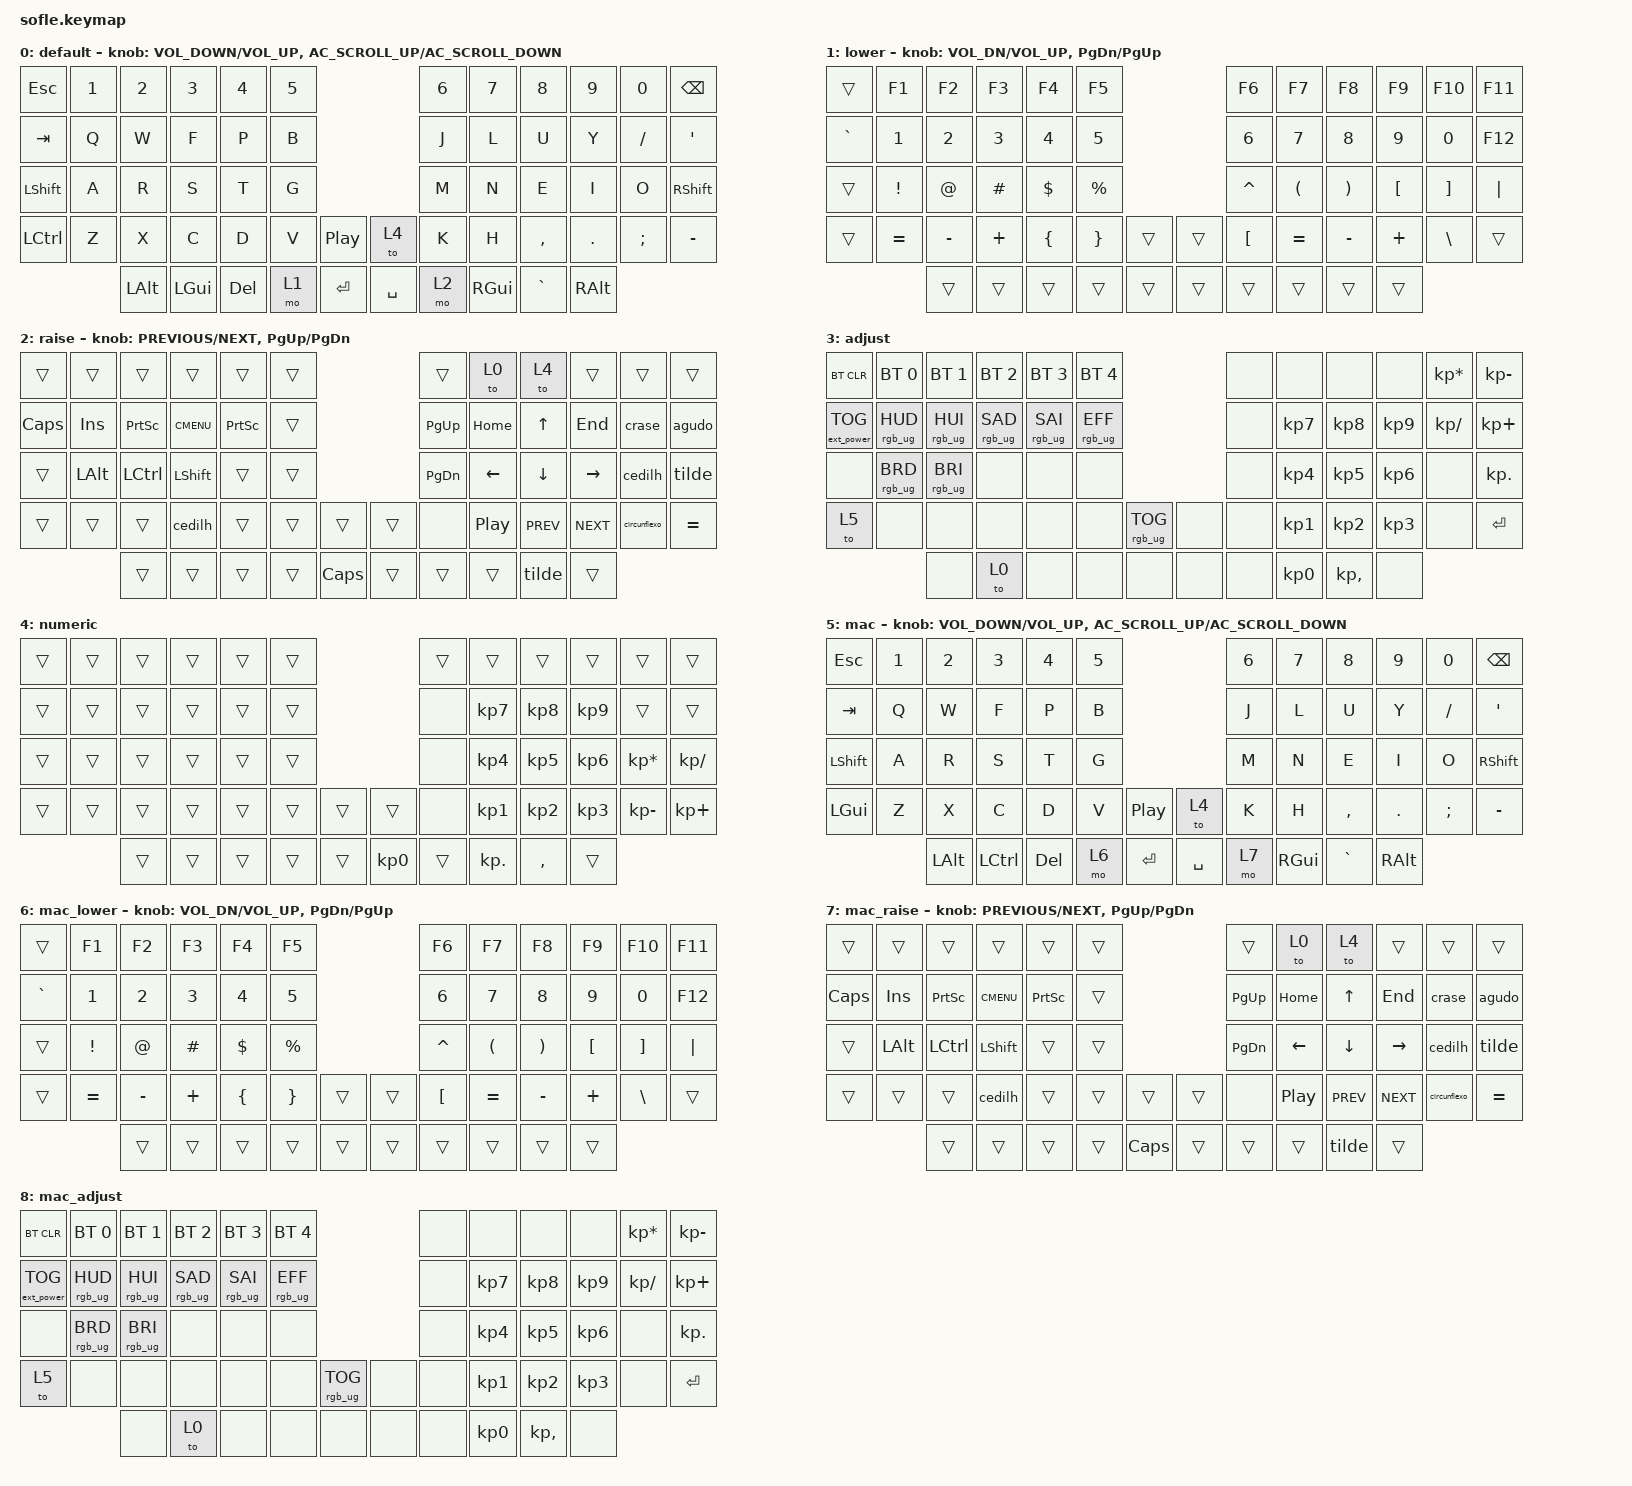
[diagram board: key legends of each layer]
/*
 * Copyright (c) 2020 The ZMK Contributors
 *
 * SPDX-License-Identifier: MIT
 */

#include <behaviors.dtsi>
#include <dt-bindings/zmk/bt.h>
#include <dt-bindings/zmk/ext_power.h>
#include <dt-bindings/zmk/keys.h>
#include <dt-bindings/zmk/rgb.h>

#define BASE 0
#define LOWER 1
#define RAISE 2
#define ADJUST 3

/ {
    // Activate ADJUST layer by pressing raise and lower

    conditional_layers {
        compatible = "zmk,conditional-layers";

        adjust_layer {
            if-layers = <1 2>;
            then-layer = <3>;
        };

        mac_adjust_layer {
            if-layers = <6 7>;
            then-layer = <8>;
        };
    };

    macros {
        cedilh: cedilh {
            compatible = "zmk,behavior-macro";
            #binding-cells = <0>;
            bindings = <&kp RA(COMMA)>;
            label = "CEDILH";
        };

        tilde: tilde {
            compatible = "zmk,behavior-macro";
            #binding-cells = <0>;
            bindings = <&kp RIGHT_GUI &kp TILDE>;
            label = "TILDE";
        };

        agudo: agudo {
            compatible = "zmk,behavior-macro";
            #binding-cells = <0>;
            bindings = <&kp RGUI &kp APOS>;
            label = "AGUDO";
        };

        crase: crase {
            compatible = "zmk,behavior-macro";
            #binding-cells = <0>;
            bindings = <&kp RGUI &kp GRAVE>;
            label = "CRASE";
        };

        circunflexo: circunflexo {
            compatible = "zmk,behavior-macro";
            #binding-cells = <0>;
            bindings = <&kp RGUI &kp RS(NUMBER_6)>;
            label = "CIRCUNFLEXO";
        };
    };

    keymap {
        compatible = "zmk,keymap";

        default_layer {
            display-name = "default";

            // ------------------------------------------------------------------------------------------------------------
            // |   `   |  1  |  2  |  3   |  4   |  5   |                   |  6   |  7    |  8    |  9   |   0   |       |
            // |  ESC  |  Q  |  W  |  E   |  R   |  T   |                   |  Y   |  U    |  I    |  O   |   P   | BKSPC |
            // |  TAB  |  A  |  S  |  D   |  F   |  G   |                   |  H   |  J    |  K    |  L   |   ;   |   '   |
            // | SHIFT |  Z  |  X  |  C   |  V   |  B   |  MUTE  |  |       |  N   |  M    |  ,    |  .   |   /   | SHIFT |
            //               | GUI | ALT  | CTRL | LOWER|  ENTER |  | SPACE | RAISE| CTRL  | ALT   | GUI  |

            bindings = <
&kp ESCAPE        &kp N1  &kp N2        &kp N3        &kp N4      &kp N5                                 &kp N6  &kp N7         &kp N8     &kp N9         &kp N0         &kp BSPC
&kp TAB           &kp Q   &kp W         &kp F         &kp P       &kp B                                  &kp J   &kp L          &kp U      &kp Y          &kp FSLH       &kp APOSTROPHE
&kp LEFT_SHIFT    &kp A   &kp R         &kp S         &kp T       &kp G                                  &kp M   &kp N          &kp E      &kp I          &kp O          &kp RIGHT_SHIFT
&kp LEFT_CONTROL  &kp Z   &kp X         &kp C         &kp D       &kp V   &kp C_PLAY_PAUSE    &to 4      &kp K   &kp H          &kp COMMA  &kp DOT        &kp SEMICOLON  &kp MINUS
                          &kp LEFT_ALT  &kp LEFT_GUI  &kp DELETE  &mo 1   &kp RETURN          &kp SPACE  &mo 2   &kp RIGHT_GUI  &kp GRAVE  &kp RIGHT_ALT
            >;

            sensor-bindings =
                <&inc_dec_kp C_VOLUME_DOWN C_VOLUME_UP>,
                <&inc_dec_kp C_AC_SCROLL_UP C_AC_SCROLL_DOWN>;
        };

        lower_layer {
            display-name = "lower";

            // TODO: Some binds are waiting for shifted keycode support.
            // ------------------------------------------------------------------------------------------------------------
            // |       |  F1 |  F2 |  F3  |  F4  |  F5  |                   |  F6  |  F7   |  F8   |  F9  |  F10  |  F11  |
            // |   `   |  1  |  2  |  3   |  4   |  5   |                   |  6   |  7    |  8    |  9   |   0   |  F12  |
            // |       |  !  |  @  |  #   |  $   |  %   |                   |  ^   |  &    |  *    |  (   |   )   |   |   |
            // |       |  =  |  -  |  +   |  {   |  }   |        |  |       |  [   |  ]    |  ;    |  :   |   \   |       |
            //               |     |      |      |      |        |  |       |      |       |       |      |

            bindings = <
&trans     &kp F1     &kp F2     &kp F3    &kp F4    &kp F5                       &kp F6     &kp F7                &kp F8                 &kp F9            &kp F10            &kp F11
&kp GRAVE  &kp N1     &kp N2     &kp N3    &kp N4    &kp N5                       &kp N6     &kp N7                &kp N8                 &kp N9            &kp N0             &kp F12
&trans     &kp EXCL   &kp AT     &kp HASH  &kp DLLR  &kp PRCNT                    &kp CARET  &kp LEFT_PARENTHESIS  &kp RIGHT_PARENTHESIS  &kp LEFT_BRACKET  &kp RIGHT_BRACKET  &kp PIPE
&trans     &kp EQUAL  &kp MINUS  &kp PLUS  &kp LBRC  &kp RBRC   &trans    &trans  &kp LBKT   &kp EQUAL             &kp MINUS              &kp PLUS          &kp BSLH           &trans
                      &trans     &trans    &trans    &trans     &trans    &trans  &trans     &trans                &trans                 &trans
            >;

            sensor-bindings =
                <&inc_dec_kp C_VOL_DN C_VOL_UP>,
                <&inc_dec_kp PG_DN PG_UP>;
        };

        raise_layer {
            display-name = "raise";

            // ------------------------------------------------------------------------------------------------------------
            // | BTCLR | BT1  | BT2  |  BT3  |  BT4  |  BT5 |                |      |      |       |      |       |       |
            // |       | INS  | PSCR | GUI   |       |      |                | PGUP |      |   ^   |      |       |       |
            // |       | ALT  | CTRL | SHIFT |       | CAPS |                | PGDN |   <- |   v   |  ->  |  DEL  | BKSPC |
            // |       | UNDO | CUT  | COPY  | PASTE |      |      |  |      |      |      |       |      |       |       |
            //                |      |       |       |      |      |  |      |      |      |       |      |

            bindings = <
&trans        &trans    &trans     &trans       &trans           &trans                          &trans         &to 0     &to 4       &trans      &trans        &trans
&kp CAPSLOCK  &kp INS   &kp PSCRN  &kp K_CMENU  &kp PRINTSCREEN  &trans                          &kp PAGE_UP    &kp HOME  &kp UP      &kp END     &crase        &agudo
&trans        &kp LALT  &kp LCTRL  &kp LSHFT    &trans           &trans                          &kp PAGE_DOWN  &kp LEFT  &kp DOWN    &kp RIGHT   &cedilh       &tilde
&trans        &trans    &trans     &cedilh      &trans           &trans  &trans          &trans  &none          &kp C_PP  &kp C_PREV  &kp C_NEXT  &circunflexo  &kp EQUAL
                        &trans     &trans       &trans           &trans  &kp CAPSLOCK    &trans  &trans         &trans    &tilde      &trans
            >;

            sensor-bindings =
                <&inc_dec_kp C_PREVIOUS C_NEXT>,
                <&inc_dec_kp PG_UP PG_DN>;
        };

        adjust_layer {
            // ----------------------------------------------------------------------------------------------------------------------------
            // | BTCLR  |  BT1    |  BT2    |   BT3   |   BT4   |   BT5   |                  |      |      |       |      |       |       |
            // | EXTPWR | RGB_HUD | RGB_HUI | RGB_SAD | RGB_SAI | RGB_EFF |                  |      |      |       |      |       |       |
            // |        | RGB_BRD | RGB_BRI |         |         |         |                  |      |      |       |      |       |       |
            // |        |         |         |         |         |         | RGB_TOG | |      |      |      |       |      |       |       |
            //                    |         |         |         |         |         | |      |      |      |       |      |

            display-name = "adjust";
            bindings = <
&bt BT_CLR         &bt BT_SEL 0     &bt BT_SEL 1     &bt BT_SEL 2     &bt BT_SEL 3     &bt BT_SEL 4                               &none  &none            &none            &none            &kp KP_MULTIPLY  &kp KP_SUBTRACT
&ext_power EP_TOG  &rgb_ug RGB_HUD  &rgb_ug RGB_HUI  &rgb_ug RGB_SAD  &rgb_ug RGB_SAI  &rgb_ug RGB_EFF                            &none  &kp KP_NUMBER_7  &kp KP_NUMBER_8  &kp KP_NUMBER_9  &kp KP_DIVIDE    &kp KP_PLUS
&none              &rgb_ug RGB_BRD  &rgb_ug RGB_BRI  &none            &none            &none                                      &none  &kp KP_NUMBER_4  &kp KP_NUMBER_5  &kp KP_NUMBER_6  &none            &kp KP_DOT
&to 5              &none            &none            &none            &none            &none            &rgb_ug RGB_TOG    &none  &none  &kp KP_NUMBER_1  &kp KP_NUMBER_2  &kp KP_NUMBER_3  &none            &kp ENTER
                                    &none            &to 0            &none            &none            &none              &none  &none  &kp KP_NUMBER_0  &kp KP_COMMA     &none
            >;
        };

        numeric_layer {
            display-name = "numeric";
            bindings = <
&trans  &trans  &trans  &trans  &trans  &trans                             &trans  &trans           &trans           &trans           &trans           &trans
&trans  &trans  &trans  &trans  &trans  &trans                             &none   &kp KP_NUMBER_7  &kp KP_NUMBER_8  &kp KP_NUMBER_9  &trans           &trans
&trans  &trans  &trans  &trans  &trans  &trans                             &none   &kp KP_NUMBER_4  &kp KP_NUMBER_5  &kp KP_NUMBER_6  &kp KP_MULTIPLY  &kp KP_SLASH
&trans  &trans  &trans  &trans  &trans  &trans  &trans    &trans           &none   &kp KP_NUMBER_1  &kp KP_NUMBER_2  &kp KP_NUMBER_3  &kp KP_MINUS     &kp KP_PLUS
                &trans  &trans  &trans  &trans  &trans    &kp KP_NUMBER_0  &trans  &kp KP_DOT       &kp COMMA        &trans
            >;
        };

        mac_layer {
            display-name = "mac";
            bindings = <
&kp ESCAPE      &kp N1  &kp N2        &kp N3            &kp N4      &kp N5                                 &kp N6  &kp N7         &kp N8     &kp N9         &kp N0         &kp BSPC
&kp TAB         &kp Q   &kp W         &kp F             &kp P       &kp B                                  &kp J   &kp L          &kp U      &kp Y          &kp FSLH       &kp APOSTROPHE
&kp LEFT_SHIFT  &kp A   &kp R         &kp S             &kp T       &kp G                                  &kp M   &kp N          &kp E      &kp I          &kp O          &kp RIGHT_SHIFT
&kp LEFT_GUI    &kp Z   &kp X         &kp C             &kp D       &kp V   &kp C_PLAY_PAUSE    &to 4      &kp K   &kp H          &kp COMMA  &kp DOT        &kp SEMICOLON  &kp MINUS
                        &kp LEFT_ALT  &kp LEFT_CONTROL  &kp DELETE  &mo 6   &kp RETURN          &kp SPACE  &mo 7   &kp RIGHT_GUI  &kp GRAVE  &kp RIGHT_ALT
            >;

            sensor-bindings =
                <&inc_dec_kp C_VOLUME_DOWN C_VOLUME_UP>,
                <&inc_dec_kp C_AC_SCROLL_UP C_AC_SCROLL_DOWN>;
        };

        mac_lower_layer {
            display-name = "mac_lower";
            bindings = <
&trans     &kp F1     &kp F2     &kp F3    &kp F4    &kp F5                       &kp F6     &kp F7                &kp F8                 &kp F9            &kp F10            &kp F11
&kp GRAVE  &kp N1     &kp N2     &kp N3    &kp N4    &kp N5                       &kp N6     &kp N7                &kp N8                 &kp N9            &kp N0             &kp F12
&trans     &kp EXCL   &kp AT     &kp HASH  &kp DLLR  &kp PRCNT                    &kp CARET  &kp LEFT_PARENTHESIS  &kp RIGHT_PARENTHESIS  &kp LEFT_BRACKET  &kp RIGHT_BRACKET  &kp PIPE
&trans     &kp EQUAL  &kp MINUS  &kp PLUS  &kp LBRC  &kp RBRC   &trans    &trans  &kp LBKT   &kp EQUAL             &kp MINUS              &kp PLUS          &kp BSLH           &trans
                      &trans     &trans    &trans    &trans     &trans    &trans  &trans     &trans                &trans                 &trans
            >;

            sensor-bindings =
                <&inc_dec_kp C_VOL_DN C_VOL_UP>,
                <&inc_dec_kp PG_DN PG_UP>;
        };

        mac_raise {
            display-name = "mac_raise";
            bindings = <
&trans        &trans    &trans     &trans       &trans           &trans                          &trans         &to 0     &to 4       &trans      &trans        &trans
&kp CAPSLOCK  &kp INS   &kp PSCRN  &kp K_CMENU  &kp PRINTSCREEN  &trans                          &kp PAGE_UP    &kp HOME  &kp UP      &kp END     &crase        &agudo
&trans        &kp LALT  &kp LCTRL  &kp LSHFT    &trans           &trans                          &kp PAGE_DOWN  &kp LEFT  &kp DOWN    &kp RIGHT   &cedilh       &tilde
&trans        &trans    &trans     &cedilh      &trans           &trans  &trans          &trans  &none          &kp C_PP  &kp C_PREV  &kp C_NEXT  &circunflexo  &kp EQUAL
                        &trans     &trans       &trans           &trans  &kp CAPSLOCK    &trans  &trans         &trans    &tilde      &trans
            >;

            sensor-bindings =
                <&inc_dec_kp C_PREVIOUS C_NEXT>,
                <&inc_dec_kp PG_UP PG_DN>;
        };

        mac_adjust {
            display-name = "mac_adjust";
            bindings = <
&bt BT_CLR         &bt BT_SEL 0     &bt BT_SEL 1     &bt BT_SEL 2     &bt BT_SEL 3     &bt BT_SEL 4                               &none  &none            &none            &none            &kp KP_MULTIPLY  &kp KP_SUBTRACT
&ext_power EP_TOG  &rgb_ug RGB_HUD  &rgb_ug RGB_HUI  &rgb_ug RGB_SAD  &rgb_ug RGB_SAI  &rgb_ug RGB_EFF                            &none  &kp KP_NUMBER_7  &kp KP_NUMBER_8  &kp KP_NUMBER_9  &kp KP_DIVIDE    &kp KP_PLUS
&none              &rgb_ug RGB_BRD  &rgb_ug RGB_BRI  &none            &none            &none                                      &none  &kp KP_NUMBER_4  &kp KP_NUMBER_5  &kp KP_NUMBER_6  &none            &kp KP_DOT
&to 5              &none            &none            &none            &none            &none            &rgb_ug RGB_TOG    &none  &none  &kp KP_NUMBER_1  &kp KP_NUMBER_2  &kp KP_NUMBER_3  &none            &kp ENTER
                                    &none            &to 0            &none            &none            &none              &none  &none  &kp KP_NUMBER_0  &kp KP_COMMA     &none
            >;
        };
    };
};
